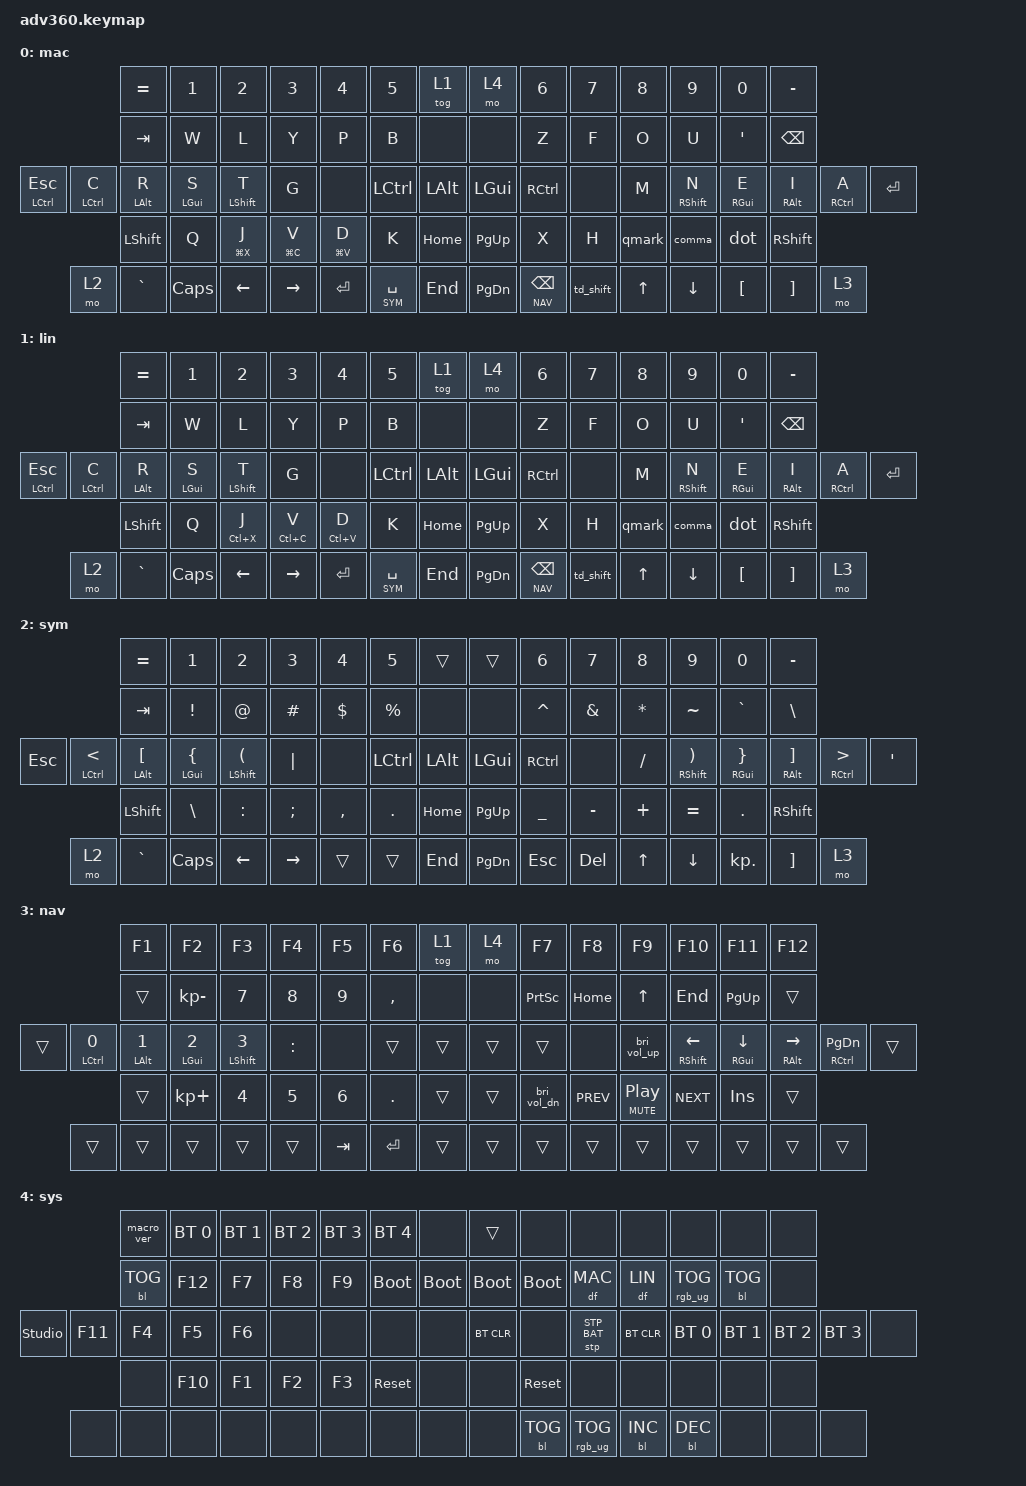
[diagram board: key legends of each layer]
#include <behaviors.dtsi>
#include <dt-bindings/zmk/keys.h>
#include <dt-bindings/zmk/bt.h>
#include <dt-bindings/zmk/rgb.h>
#include <dt-bindings/zmk/stp.h>
#include <dt-bindings/zmk/backlight.h>
#include <dt-bindings/zmk/pointing.h>

#include "elpekenin/behaviors.dtsi"

#define MAC 0
#define LIN 1
#define SYM 2
#define NAV 3 // numpad and navigation
#define SYS 4 // fn, bluetooth, media controls
// #define MSE 5

//#define KEYS_LEFT 0 1 2 3 4 5 6 \
//                  14 15 16 17 18 19 20 \
//                  28 29 30 31 32 33 34 \
//                  46 47 48 49 50 51 \
//                  60 61 62 63 64

//#define KEYS_RIGHT 7 8 9 10 11 12 13 \
//                   21 22 23 24 25 26 27 \
//                   39 40 41 42 43 44 45 \
//                   54 55 56 57 58 59 \
//                   71 72 73 74 75

#define LT0  19  // left-top row
#define LT1  18
#define LT2  17
#define LT3  16
#define LT4  15
#define LT5  14

#define RT0 22  // right-top row
#define RT1 23
#define RT2 24
#define RT3 25
#define RT4 26
#define RT5 27

#define LM0 33  // left-middle row
#define LM1 32
#define LM2 31
#define LM3 30
#define LM4 29
#define LM5 28

#define RM0 40  // right-middle row
#define RM1 41
#define RM2 42
#define RM3 43
#define RM4 44
#define RM5 45

#define LB0 51  // left-bottom row
#define LB1 50
#define LB2 49
#define LB3 48
#define LB4 47
#define LB5 46

#define RB0 54  // right-bottom row
#define RB1 55
#define RB2 56
#define RB3 57
#define RB4 58
#define RB5 59

&key_repeat {
    usage-pages = <HID_USAGE_KEY HID_USAGE_CONSUMER>;
};

/ {
    behaviors {
        #include "macros.dtsi"
        #include "version.dtsi"

        // sticky that applies just before the next keystroke
        skq: sticky_key_quick_release {
          compatible = "zmk,behavior-sticky-key";
          #binding-cells = <1>;
          bindings = <&kp>;
          release-after-ms = <1000>;
          quick-release;
          /* ignore-modifiers; */
          // this was wrapping my semi colon override in another shift, causing colon
        };

        td_shift: tap_dance_shift_caps_word {
            compatible = "zmk,behavior-tap-dance";
            bindings = <&skq LSHIFT>, <&caps_word>;

            #binding-cells = <0>;
            tapping-term-ms = <200>;
        };

        hrm: homerow_mods {
            compatible = "zmk,behavior-hold-tap";
            bindings = <&kp>, <&kp>;

            #binding-cells = <2>;
            tapping-term-ms = <200>;
            require-prior-idle-ms = <125>;
            quick-tap-ms = <150>;
            flavor = "tap-preferred";
        };

        hrs: homerow_shift {
            compatible = "zmk,behavior-hold-tap";
            bindings = <&kp>, <&kp>;

            #binding-cells = <2>;
            tapping-term-ms = <150>;
            flavor = "balanced";
        };

        lh: layer_hold {
          compatible = "zmk,behavior-hold-tap";
          bindings = <&mo>, <&kp>;

          #binding-cells = <2>;
          tapping-term-ms = <200>;
          flavor = "hold-preferred";
        };

        bspc: bspc_del_on_shift {
            compatible = "zmk,behavior-mod-morph";
            bindings = <&kp BSPC>, <&kp DEL>;

            #binding-cells = <0>;
            mods = <(MOD_LSFT|MOD_RSFT)>;
        };

        // the following only USES one argument but requires 2, so pass in the layer as the
        // first param and a dummy value like 0 as second
        lhbs: layer_hold_bspc_override {
            compatible = "zmk,behavior-hold-tap";
            /* bindings = <&mo>, <&bspc>; */
            bindings = <&mo>, <&kp>;

            #binding-cells = <2>;
            tapping-term-ms = <200>;
        };

        space: space_tab_on_shift {
            compatible = "zmk,behavior-mod-morph";
            bindings = <&kp SPACE>, <&kp TAB>;

            #binding-cells = <0>;
            mods = <(MOD_LSFT)>;
        };

        ltsp: layer_tap_space_override {
            compatible = "zmk,behavior-hold-tap";
            bindings = <&mo>, <&kp>;

            #binding-cells = <2>;
            tapping-term-ms = <150>;
            flavor = "tap-preferred";
        };

        qmark: qmark_excl_on_shift {
            compatible = "zmk,behavior-mod-morph";
            bindings = <&kp QMARK>, <&kp EXCL>;

            #binding-cells = <0>;
            mods = <(MOD_LSFT|MOD_RSFT)>;
        };

        comma: comma_semicolon_on_shift {
            compatible = "zmk,behavior-mod-morph";
            bindings = <&kp COMMA>, <&kp SEMI>;

            #binding-cells = <0>;
            mods = <(MOD_LSFT|MOD_RSFT)>;
        };

        dot: dot_colon_on_shift {
            compatible = "zmk,behavior-mod-morph";
            bindings = <&kp DOT>, <&kp COLON>;

            #binding-cells = <0>;
            mods = <(MOD_LSFT|MOD_RSFT)>;
        };

        lp: long_press {
            compatible = "zmk,behavior-hold-tap";
            bindings = <&kp>, <&kp>;

            #binding-cells = <2>;
            tapping-term-ms = <155>;
            flavor = "balanced";
        };

        // these will only work as volume until this is resolved: https://github.com/zmkfirmware/zmk/issues/2329#issuecomment-2161285644
        bri_vol_dn: bri_or_vol_dn {
            compatible = "zmk,behavior-mod-morph";
            bindings = <&kp C_VOL_DN>, <&kp C_BRI_DN>;

            #binding-cells = <0>;
            mods = <(MOD_LGUI|MOD_RGUI)>;
            keep-mods = <0>;
        };

        bri_vol_up: bri_or_vol_up {
          compatible = "zmk,behavior-mod-morph";
          bindings = <&kp C_VOL_UP>, <&kp C_BRI_UP>;

          #binding-cells = <0>;
          mods = <(MOD_LGUI|MOD_RGUI)>;
          keep-mods = <0>;
        };
    };

    combos {
        compatible = "zmk,combos";

        escape {
            bindings = <&kp ESC>;
            key-positions = <LM3 LM2>;
            require-prior-idle-ms = <40>;
            timeout-ms = <25>;
        };

        enter {
            bindings = <&kp ENTER>;
            key-positions = <RM2 RM3>;
            require-prior-idle-ms = <40>;
            timeout-ms = <20>;
        };

        tab {
            bindings = <&kp TAB>;
            key-positions = <LM2 LM1>;
            require-prior-idle-ms = <40>;
            timeout-ms = <20>;
        };

        caps {
            bindings = <&kp CAPS>;
            key-positions = <RT1 RT2 RT3>;
            require-prior-idle-ms = <40>;
            timeout-ms = <20>;
        };

        sl_sys {
            bindings = <&sl SYS>;
            key-positions = <LT1 LT2 LT3>;
            require-prior-idle-ms = <40>;
            timeout-ms = <20>;
        };

        /* bri_dn { */
        /*     bindings = <&kp C_BRI_DN>; */
        /*     key-positions = <RB1 RB2>; */
        /*     require-prior-idle-ms = <40>; */
        /*     timeout-ms = <30>; */
        /* }; */
        /**/
        /* bri_up { */
        /*     bindings = <&kp C_BRI_UP>; */
        /*     key-positions = <RB2 RB3>; */
        /*     require-prior-idle-ms = <40>; */
        /*     timeout-ms = <30>; */
        /* }; */

        //*** OS specific combos ***//
        // mac combos
        /* copy { */
        /*     bindings = <&kp LG(C)>; */
        /*     key-positions = <LB3 LB2>; */
        /*     layers = <0>; */
        /* }; */
        /**/
        /* paste { */
        /*     bindings = <&kp LG(V)>; */
        /*     key-positions = <LB2 LB1>; */
        /*     layers = <0>; */
        /* }; */
        /**/
        /* cut { */
        /*     bindings = <&kp LG(X)>; */
        /*     key-positions = <LB3 LB1>; */
        /*     layers = <0>; */
        /* }; */

        /* back_word { */
        /*     bindings = <&kp LA(BSPC)>; */
        /*     key-positions = <LM3 LM1>; */
        /*     require-prior-idle-ms = <50>; */
        /*     timeout-ms = <20>; */
        /*     layers = <0>; */
        /* }; */
        /**/
        /* del_word { */
        /*     bindings = <&kp LA(DEL)>; */
        /*     key-positions = <RM1 RM3>; */
        /*     require-prior-idle-ms = <50>; */
        /*     timeout-ms = <20>; */
        /*     layers = <0>; */
        /* }; */
        /**/
        /* undo { */
        /*     bindings = <&kp LG(Z)>; */
        /*     key-positions = <RT1 RT2>; */
        /*     require-prior-idle-ms = <50>; */
        /*     timeout-ms = <20>; */
        /*     layers = <0>; */
        /* }; */
        /**/
        /* redo { */
        /*     bindings = <&kp LG(LS(Z))>; */
        /*     key-positions = <RT2 RT3>; */
        /*     require-prior-idle-ms = <50>; */
        /*     timeout-ms = <20>; */
        /*     layers = <0>; */
        /* }; */

        // linux combos
        /* copy_lin { */
        /*     bindings = <&kp LC(C)>; */
        /*     key-positions = <LB3 LB2>; */
        /*     layers = <1>; */
        /* }; */
        /**/
        /* paste_lin { */
        /*     bindings = <&kp LC(V)>; */
        /*     key-positions = <LB2 LB1>; */
        /*     layers = <1>; */
        /* }; */
        /**/
        /* cut_lin { */
        /*     bindings = <&kp LC(X)>; */
        /*     key-positions = <LB3 LB1>; */
        /*     layers = <1>; */
        /* }; */

        /* back_word_lin { */
        /*     bindings = <&kp LC(BSPC)>; */
        /*     key-positions = <LM3 LM1>; */
        /*     require-prior-idle-ms = <50>; */
        /*     timeout-ms = <20>; */
        /*     layers = <1>; */
        /* }; */
        /**/
        /* del_word_lin { */
        /*     bindings = <&kp LC(DEL)>; */
        /*     key-positions = <RM1 RM3>; */
        /*     require-prior-idle-ms = <50>; */
        /*     timeout-ms = <20>; */
        /*     layers = <1>; */
        /* }; */
        /**/
        /* undo_lin { */
        /*     bindings = <&kp LC(Z)>; */
        /*     key-positions = <RT1 RT2>; */
        /*     require-prior-idle-ms = <50>; */
        /*     timeout-ms = <20>; */
        /*     layers = <1>; */
        /* }; */
        /**/
        /* redo_lin { */
        /*     bindings = <&kp LC(Y)>; */
        /*     key-positions = <RT2 RT3>; */
        /*     require-prior-idle-ms = <50>; */
        /*     timeout-ms = <20>; */
        /*     layers = <1>; */
        /* }; */

    };


  keymap {
    compatible = "zmk,keymap";
    
    mac {
      display-name = "mac";
      bindings = <
        &kp EQUAL &kp N1    &kp N2   &kp N3   &kp N4     &kp N5 &tog 1                                                           &mo 4 &kp N6 &kp N7 &kp N8    &kp N9   &kp N0   &kp MINUS
        &kp TAB   &kp W           &kp L         &kp Y         &kp P           &kp B  &none                                       &none &kp Z      &kp F           &kp O        &kp U          &kp SQT    &kp BSPC
        &mt LCTRL ESCAPE  &hrm LCTRL C    &hrm LALT R   &hrm LGUI S   &hrs LSHIFT T   &kp G  &none           &kp LCTRL &kp LALT &kp LGUI  &kp RCTRL           &none &kp M      &hrs RSHIFT N   &hrm RGUI E  &hrm RALT I    &hrm RCTRL A   &kp ENTER
        &kp LSHFT         &kp Q           &lp LG(X) J  &lp LG(C) V  &lp LG(V) D           &kp K                            &kp HOME &kp PG_UP                           &kp X      &kp H            &qmark   &comma  &dot           &kp RSHIFT
        &mo 2     &kp GRAVE &kp CAPS &kp LEFT &kp RIGHT                &kp ENTER   &ltsp SYM SPACE   &kp END  &kp PG_DN &lhbs NAV BSPC   &td_shift              &kp UP &kp DOWN  &kp LBKT &kp RBKT &mo 3
      >;
    };

    lin {
      display-name = "lin";
      bindings = <
        &kp EQUAL &kp N1    &kp N2   &kp N3   &kp N4     &kp N5 &tog 1                                                           &mo 4 &kp N6 &kp N7 &kp N8    &kp N9   &kp N0   &kp MINUS
        &kp TAB   &kp W           &kp L         &kp Y         &kp P           &kp B  &none                                       &none &kp Z      &kp F           &kp O        &kp U          &kp SQT    &kp BSPC
        &mt LCTRL ESCAPE  &hrm LCTRL C    &hrm LALT R   &hrm LGUI S   &hrs LSHIFT T   &kp G  &none           &kp LCTRL &kp LALT &kp LGUI  &kp RCTRL           &none &kp M      &hrs RSHIFT N   &hrm RGUI E  &hrm RALT I    &hrm RCTRL A   &kp ENTER
        &kp LSHFT         &kp Q &lp LC(X) J &lp LC(C) V &lp LC(V) D           &kp K                            &kp HOME &kp PG_UP                           &kp X      &kp H           &qmark   &comma  &dot           &kp RSHIFT
        &mo 2     &kp GRAVE &kp CAPS &kp LEFT &kp RIGHT             &kp ENTER   &ltsp SYM SPACE   &kp END  &kp PG_DN &lhbs NAV BSPC   &td_shift              &kp UP &kp DOWN  &kp LBKT &kp RBKT &mo 3
      >;
    };

//    qwerty {
//      display-name = "qwr";
//      bindings = <
//        &kp EQUAL &kp N1    &kp N2   &kp N3   &kp N4     &kp N5 &tog 1                                                           &mo 4 &kp N6 &kp N7 &kp N8    &kp N9   &kp N0   &kp MINUS
//        &kp TAB   &kp Q     &kp W    &kp E    &kp R      &kp T  &none                                                            &none &kp Y  &kp U  &kp I     &kp O    &kp P    &kp BSLH
//        &kp ESC   &kp A     &kp S    &kp D    &kp F      &kp G  &none           &kp LCTRL &kp LALT &kp LGUI  &kp RCTRL           &none &kp H  &kp J  &kp K     &kp L    &kp SEMI &kp SQT
//        &kp LSHFT &kp Z     &kp X    &kp C    &kp V      &kp B                            &kp HOME &kp PG_UP                           &kp N  &kp M  &kp COMMA &kp DOT  &kp FSLH &kp RSHFT
//        &mo 2     &kp GRAVE &kp CAPS &kp LEFT &kp RIGHT               &kp SPACE &kp ESC   &kp END  &kp PG_DN &kp ENTER &ltsp 3 0               &kp UP &kp DOWN  &kp LBKT &kp RBKT &mo 3
//      >;
//    };

    symbol {
      display-name = "sym";
      bindings = <
        &kp EQUAL &kp N1    &kp N2   &kp N3   &kp N4     &kp N5 &trans                                                           &trans &kp N6 &kp N7 &kp N8    &kp N9   &kp N0   &kp MINUS
        &kp TAB   &kp EXCLAMATION  &kp AT     &kp HASH   &kp DOLLAR  &kp PERCENT      &none                                      &none  &kp CARET      &kp AMPS   &kp STAR  &kp TILDE  &kp GRAVE    &kp BSLH
        &kp ESC   &hrm LCTRL LESS_THAN  &hrm LALT LBKT  &hrm LGUI LBRC  &hrs LSHFT LPAR   &kp PIPE         &none           &kp LCTRL &kp LALT &kp LGUI  &kp RCTRL           &none  &kp FSLH  &hrs RSHFT RPAR  &hrm RGUI RBRC  &hrm RALT RBKT  &hrm RCTRL GREATER_THAN     &kp SQT
        &kp LSHFT &kp BSLH      &kp COLON   &kp SEMI &kp COMMA  &kp DOT                                     &kp HOME &kp PG_UP                            &kp UNDER      &kp MINUS    &kp PLUS    &kp EQUAL  &kp DOT    &kp RSHFT
        &mo 2     &kp GRAVE &kp CAPS &kp LEFT &kp RIGHT                &trans &trans   &kp END  &kp PG_DN &kp ESC &kp DEL               &kp UP     &kp DOWN     &kp KP_DOT    &kp RBKT        &mo 3
      >;
    };

    nav {
      display-name = "nav";
      bindings = <
        &kp F1 &kp F2 &kp F3 &kp F4 &kp F5 &kp F6 &tog 1                                           &mo 4 &kp F7 &kp F8 &kp F9 &kp F10 &kp F11 &kp F12
        &trans &kp KP_MINUS      &kp N7  &kp N8  &kp N9  &kp COMMA  &none                              &none &kp PSCRN  &kp HOME    &kp UP     &kp END   &kp PG_UP  &trans
        &trans &hrm LCTRL N0  &hrm LALT N1  &hrm LGUI N2  &hrs LSHFT N3  &kp COLON    &none        &trans &trans &trans &trans        &none &bri_vol_up  &hrm RSHFT LEFT  &hrm RGUI DOWN    &hrm RALT RIGHT   &hrm RCTRL PG_DN  &trans
        &trans &kp KP_PLUS   &kp N4  &kp N5  &kp N6  &kp DOT                      &trans &trans                 &bri_vol_dn &kp C_PREV   &lp C_MUTE C_PLAY_PAUSE &kp C_NEXT &kp INS  &trans
        &trans &trans &trans &trans &trans               &kp TAB &kp ENTER &trans &trans &trans &trans              &trans &trans &trans  &trans  &trans
      >;
    };

    system {
      display-name = "sys";
      bindings = <
        &macro_ver &bt BT_SEL 0 &bt BT_SEL 1 &bt BT_SEL 2 &bt BT_SEL 3 &bt BT_SEL 4 &none                                                                     &trans                 &none        &none        &none        &none &none &none
        &bl BL_TOG &kp F12        &kp F7         &kp F8        &kp F9        &bootloader        &bootloader                                                               &bootloader         &bootloader   &df MAC        &df LIN        &rgb_ug RGB_TOG        &bl BL_TOG  &none
        &studio_unlock &kp F11        &kp F4        &kp F5        &kp F6        &none        &none                   &none &none &bt BT_CLR &none                      &stp STP_BAT &bt BT_CLR &bt BT_SEL 0 &bt BT_SEL 1 &bt BT_SEL 2 &bt BT_SEL 3 &none
        &none          &kp F10        &kp F1        &kp F2        &kp F3   &sys_reset                                      &none &none                                                        &sys_reset        &none        &none        &none &none &none
        &none &none        &none        &none        &none                                       &none &none &none &none      &bl BL_TOG &rgb_ug RGB_TOG                                     &bl BL_INC   &bl BL_DEC   &none &none &none
      >;
    };

    // keypad {
    //   display-name = "Kp";
    //   bindings = <
    //     &kp EQUAL &kp N1    &kp N2   &kp N3   &kp N4     &kp N5 &trans                                                           &mo 3 &kp N6 &kp KP_NUM &kp KP_EQUAL &kp KP_DIVIDE &kp KP_MULTIPLY &kp MINUS
    //     &kp TAB   &kp Q     &kp W    &kp E    &kp R      &kp T  &none                                                            &none &kp Y  &kp KP_N7  &kp KP_N8    &kp KP_N9     &kp KP_MINUS    &kp BSLH
    //     &kp ESC   &kp A     &kp S    &kp D    &kp F      &kp G  &none           &kp LCTRL &kp LALT &kp LGUI  &kp RCTRL           &none &kp H  &kp KP_N4  &kp KP_N5    &kp KP_N6     &kp KP_PLUS     &kp SQT
    //     &kp LSHFT &kp Z     &kp X    &kp C    &kp V      &kp B                            &kp HOME &kp PG_UP                           &kp N  &kp KP_N1  &kp KP_N2    &kp KP_N3     &kp KP_ENTER    &kp RSHFT
    //     &mo 2     &kp GRAVE &kp CAPS &kp LEFT &kp RIGHT                &kp BSPC &kp DEL   &kp END  &kp PG_DN &kp ENTER &kp KP_N0              &kp UP     &kp DOWN     &kp KP_DOT    &kp RBKT        &mo 2
    //   >;
    // };
    // fn {
    //   display-name = "Fn";
    //   bindings = <
    //     &kp F1 &kp F2 &kp F3 &kp F4 &kp F5 &kp F6 &tog 1                                           &mo 3 &kp F7 &kp F8 &kp F9 &kp F10 &kp F11 &kp F12
    //     &trans &trans &trans &trans &trans &trans  &none                                           &none &trans &trans &trans &trans  &trans  &trans
    //     &trans &trans &trans &trans &trans &trans  &none        &trans &trans &trans &trans        &none &trans &trans &trans &trans  &trans  &trans
    //     &trans &trans &trans &trans &trans &trans                      &trans &trans                     &trans &trans &trans &trans  &trans  &trans
    //     &trans &trans &trans &trans &trans               &trans &trans &trans &trans &trans &trans              &trans &trans &trans  &trans  &trans
    //   >;
    // };
    // mod {
    //   display-name = "Mod";
    //   bindings = <
    //     &none &bt BT_SEL 0 &bt BT_SEL 1 &bt BT_SEL 2 &bt BT_SEL 3 &bt BT_SEL 4 &none                                                                     &trans                 &none        &none        &none        &none &none &none
    //     &none &none        &none        &none        &none        &none        &bootloader                                                               &bootloader            &none        &none        &none        &none &none &none
    //     &studio_unlock &none        &none        &none        &none        &none        &none                   &none &none &bt BT_CLR &none                      &stp STP_BAT &none        &none        &none        &none &none &none
    //     &none &none        &none        &none        &macro_ver   &none                                      &none &none                                                        &none        &none        &none        &none &none &none
    //     &none &none        &none        &none        &none                                       &none &none &none &none      &bl BL_TOG &rgb_ug RGB_TOG                                     &bl BL_INC   &bl BL_DEC   &none &none &none
    //   >;
    // };

    extra1 { 
      display-name = "Red";    
      status = "reserved";
    };

    extra2 { 
      display-name = "Purple";    
      status = "reserved";
    };

    extra3 { 
      display-name = "Cyan";    
      status = "reserved";
    };

    extra4 { 
      display-name = "Yellow";    
      status = "reserved";
    };
  };
};
